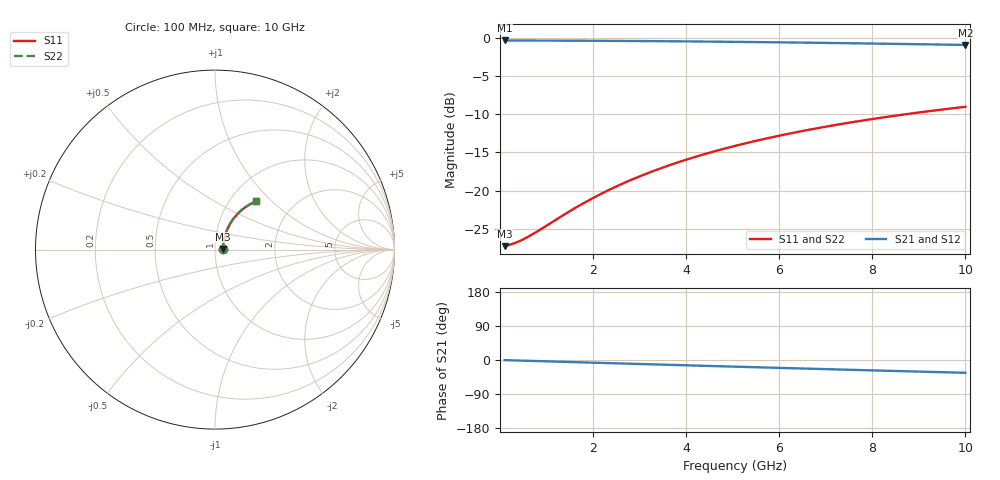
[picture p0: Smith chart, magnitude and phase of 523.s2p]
# Hz S RI R 50.00
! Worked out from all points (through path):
!   100 points, 100 MHz to 10 GHz, reference 50 ohm
!   highest |S21| = -0.38 dB at 100 MHz (marker M1); lowest = -1.0 dB at 10 GHz (marker M2)
!   group delay of S21, straight-line fit = 9.39 ps
!   lowest |S11| = -27.3 dB at 100 MHz (marker M3), VSWR 1.09, Z = 54.5 + j0.396 ohm
!   |S11| at or under -10 dB: start of sweep to 8.746 GHz
!   |S22| runs from -27.3 to -9.1 dB; largest |S21 - S12| = 0
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1e8  0.0432 0.00363  0.9568 -0.0059  0.9568 -0.0059  0.0432 0.00363
2e8  0.0436 0.00725  0.9564 -0.0118  0.9564 -0.0118  0.0436 0.00725
3e8  0.0439 0.0109  0.9561 -0.0177  0.9561 -0.0177  0.0439 0.0109
4e8  0.0442 0.0145  0.9558 -0.0236  0.9558 -0.0236  0.0442 0.0145
6e8  0.0449 0.0217  0.955 -0.0353  0.955 -0.0353  0.0449 0.0217
8e8  0.0457 0.0289  0.9541 -0.047  0.9541 -0.047  0.0457 0.0289
1.5e9  0.0498 0.0538  0.9496 -0.0878  0.9496 -0.0878  0.0498 0.0538
1.8e9  0.0522 0.0644  0.9469 -0.1052  0.9469 -0.1052  0.0522 0.0644
2.2e9  0.0559 0.0783  0.9428 -0.1282  0.9428 -0.1282  0.0559 0.0783
2.6e9  0.0603 0.0919  0.9379 -0.1509  0.9379 -0.1509  0.0603 0.0919
3e9  0.0653 0.1053  0.9323 -0.1733  0.9323 -0.1733  0.0653 0.1053
3.4e9  0.0709 0.1183  0.926 -0.1955  0.926 -0.1955  0.0709 0.1183
3.8e9  0.0771 0.1311  0.919 -0.2173  0.919 -0.2173  0.0771 0.1311
4.2e9  0.0839 0.1434  0.9114 -0.2388  0.9114 -0.2388  0.0839 0.1434
4.6e9  0.0912 0.1554  0.9031 -0.2599  0.9031 -0.2599  0.0912 0.1554
5.1e9  0.1011 0.1698  0.8919 -0.2856  0.8919 -0.2856  0.1011 0.1698
5.9e9  0.1186 0.1912  0.8721 -0.3254  0.8721 -0.3254  0.1186 0.1912
6.7e9  0.1377 0.2107  0.8503 -0.3632  0.8503 -0.3632  0.1377 0.2107
7.5e9  0.1582 0.2281  0.8267 -0.3989  0.8267 -0.3989  0.1582 0.2281
8.4e9  0.1828 0.2451  0.7982 -0.4365  0.7982 -0.4365  0.1828 0.2451
9.2e9  0.2056 0.2578  0.7716 -0.4677  0.7716 -0.4677  0.2056 0.2578
1e10  0.229 0.2682  0.7439 -0.4966  0.7439 -0.4966  0.229 0.2682
